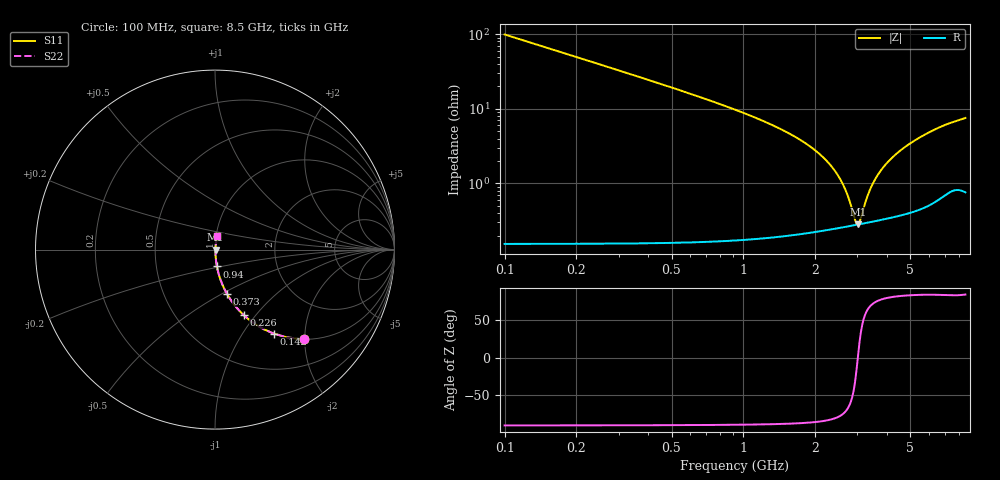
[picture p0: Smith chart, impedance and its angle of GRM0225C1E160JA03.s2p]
!Murata Part Number: GRM0225C1E160JA03
!These Parameters are Measured in Series Mode Connection
!Data Generated on Mar 30, 2021
!  o--ll--o
!Port1  Port2
!  o------o
!Operation Temp=25[degC], DC Bias Voltage=0[V]
!Freq. Start=100[MHz] Stop=9[GHz] 401[Steps]
# Hz S RI R 50
!Freq.(Hz) S11(Real) S11(Imag) S21(Real) S21(Imag) S12(Real) S12(Imag) S22(Real) S22(Imag)
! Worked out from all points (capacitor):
!   401 points, 100 MHz to 8.5 GHz, reference 50 ohm
!   read as one part in series: C = 16 pF near 142 MHz
!   lowest |Z| = 282 mohm at 3.019 GHz (marker M1)
!   series resonance near 3.012 GHz, so ESL is about 170 pH
!   S11 on the Smith chart (normalised r, x): 100 MHz: 1.00, -1.99; 142 MHz: 1.00, -1.40; 226 MHz: 1.00, -0.88; 373 MHz: 1.00, -0.52; 940 MHz: 1.00, -0.19; 8.5 GHz: 1.02, +0.15
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1e8  0.4968 -0.4992  0.5032 0.4992  0.5032 0.4992  0.4968 -0.4992
1.42e8  0.3285 -0.4686  0.6715 0.4686  0.6715 0.4686  0.3285 -0.4686
2.26e8  0.1616 -0.3663  0.8384 0.3663  0.8384 0.3663  0.1616 -0.3663
3.73e8  0.0657 -0.2449  0.9343 0.2449  0.9343 0.2449  0.0657 -0.2449
6.04e8  0.0258 -0.1536  0.9742 0.1536  0.9742 0.1536  0.0258 -0.1536
9.4e8  0.0107 -0.0941  0.9893 0.0941  0.9893 0.0941  0.0107 -0.0941
1.507e9  0.00437 -0.0489  0.9956 0.0489  0.9956 0.0489  0.00437 -0.0489
2.074e9  0.00289 -0.0249  0.9971 0.0249  0.9971 0.0249  0.00289 -0.0249
2.431e9  0.00267 -0.014  0.9973 0.014  0.9973 0.014  0.00267 -0.014
2.683e9  0.00267 -0.00753  0.9973 0.00753  0.9973 0.00753  0.00267 -0.00753
2.914e9  0.00275 -0.00215  0.9973 0.00215  0.9973 0.00215  0.00275 -0.00215
2.977e9  0.00278 -0.000759  0.9972 0.000759  0.9972 0.000759  0.00278 -0.000759
3.019e9  0.0028 0.000148  0.9972 -0.000148  0.9972 -0.000148  0.0028 0.000148
3.082e9  0.00284 0.00149  0.9972 -0.00149  0.9972 -0.00149  0.00284 0.00149
3.334e9  0.00303 0.00657  0.997 -0.00657  0.997 -0.00657  0.00303 0.00657
3.544e9  0.00321 0.0105  0.9968 -0.0105  0.9968 -0.0105  0.00321 0.0105
3.88e9  0.00357 0.0165  0.9964 -0.0165  0.9964 -0.0165  0.00357 0.0165
4.3e9  0.00409 0.0234  0.9959 -0.0234  0.9959 -0.0234  0.00409 0.0234
4.909e9  0.00502 0.0326  0.995 -0.0326  0.995 -0.0326  0.00502 0.0326
5.707e9  0.00661 0.0438  0.9934 -0.0438  0.9934 -0.0438  0.00661 0.0438
7.114e9  0.0109 0.0608  0.9891 -0.0608  0.9891 -0.0608  0.0109 0.0608
8.5e9  0.013 0.0735  0.987 -0.0735  0.987 -0.0735  0.013 0.0735
